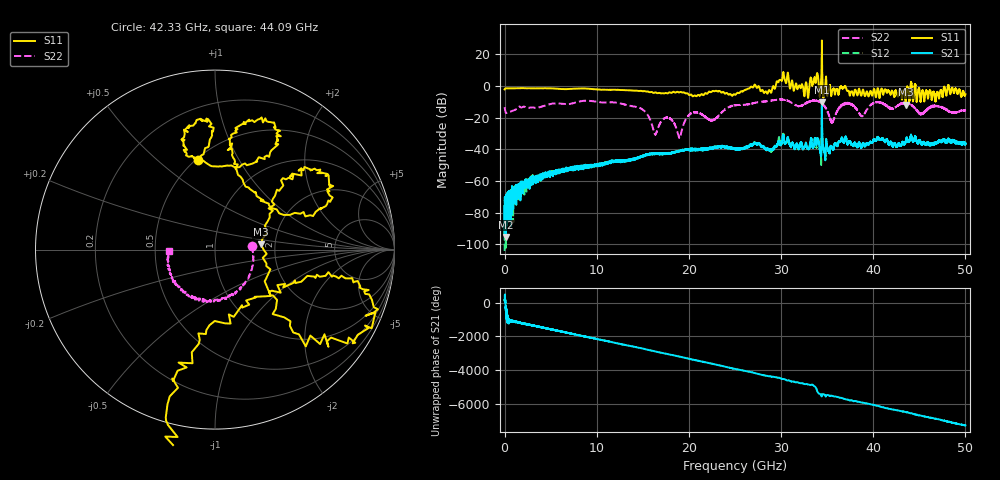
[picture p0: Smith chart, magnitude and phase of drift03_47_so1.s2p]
!Created with skrf (http://scikit-rf.org).
# Hz S RI R 50.0
!freq ReS11 ImS11 ReS21 ImS21 ReS12 ImS12 ReS22 ImS22
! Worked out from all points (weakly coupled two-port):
!   10000 points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, 5.3 MHz to 50 GHz, reference 50 ohm
!   highest |S21| = -10.35 dB at 34.43 GHz (marker M1); lowest = -95.3 dB at 125.3 MHz (marker M2)
!   lowest |S11| = -11.8 dB at 43.52 GHz (marker M3), VSWR 1.70, Z = 84.3 + j5.23 ohm
!   |S11| at or under -10 dB: 43.48841 GHz to 43.54302 GHz (54.61 MHz wide, 0.125 % of centre)
!   |S22| runs from -32.6 to -8.4 dB; largest |S21 - S12| = 0.085
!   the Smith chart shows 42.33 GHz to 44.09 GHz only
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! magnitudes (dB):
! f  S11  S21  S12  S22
! 5.3 MHz  -2.1  -86.1  -104.1  -13.3
! 125.3 MHz  -1.5  -95.3  -72.8  -16.7
! 2.945 GHz  -1.4  -59.6  -59.6  -13.5
! 8.34 GHz  -1.5  -51.0  -51.1  -9.5
! 14.57 GHz  -3.1  -45.1  -45.2  -13.6
! 16.67 GHz  -4.4  -42.8  -42.6  -26.2
! 17.81 GHz  -4.2  -42.2  -42.6  -20.0
! 18.99 GHz  -3.9  -40.9  -41.1  -32.5
! 20.3 GHz  -5.6  -40.5  -39.9  -17.0
! 22.58 GHz  -3.1  -39.2  -39.2  -21.6
! 25.01 GHz  -5.5  -39.5  -39.6  -12.2
! 28.72 GHz  -2.5  -40.7  -40.3  -9.3
! 30.14 GHz  4.4  -33.9  -33.9  -8.5
! 32.74 GHz  2.0  -36.9  -36.3  -10.6
! 33.34 GHz  2.5  -35.0  -35.3  -9.3
! 34.43 GHz  28.8  -10.3  -12.3  -10.8
! 35.54 GHz  -3.1  -38.7  -38.8  -22.6
! 36.96 GHz  0.1  -32.9  -33.2  -11.0
! 38.78 GHz  -4.9  -37.7  -38.1  -19.0
! 41.67 GHz  -2.9  -36.7  -36.7  -13.2
! 43.52 GHz  -11.8  -35.1  -34.9  -10.9
! 50 GHz  -5.2  -36.5  -36.2  -15.5
